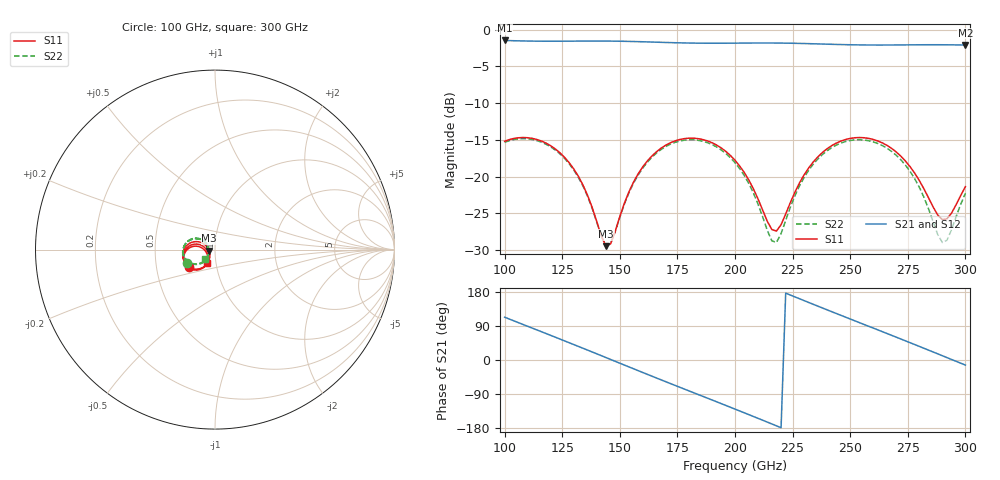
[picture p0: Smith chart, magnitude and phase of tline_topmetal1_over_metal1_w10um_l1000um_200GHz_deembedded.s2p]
! Created with skrf 2.0.1 (http://scikit-rf.org).
# GHz S DB R 50.0
!freq dBS11 angS11 dBS21 angS21 dBS12 angS12 dBS22 angS22
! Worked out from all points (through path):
!   101 points, 100 GHz to 300 GHz, reference 50 ohm
!   highest |S21| = -1.45 dB at 100 GHz (marker M1); lowest = -2.1 dB at 300 GHz (marker M2)
!   group delay of S21, straight-line fit = 6.76 ps
!   lowest |S11| = -29.5 dB at 144 GHz (marker M3), VSWR 1.07, Z = 46.8 - j0.52 ohm
!   |S11| at or under -10 dB: start of sweep to end of sweep
!   |S22| runs from -29.5 to -14.8 dB; largest |S21 - S12| = 1.5e-15
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100  -15.19 -147.2  -1.45 113.0  -1.45 113.0  -15.34 -154.3
116  -15.16 -179.3  -1.56 74.6  -1.56 74.6  -15.31 172.4
126  -17.37 162.6  -1.55 50.5  -1.55 50.5  -17.52 153.5
134  -21.14 153.0  -1.54 31.0  -1.54 31.0  -21.29 143.5
144  -29.48 -170.5  -1.54 6.4  -1.54 6.4  -29.46 179.0
146  -29.17 -148.3  -1.54 1.5  -1.54 1.5  -29.15 -159.5
158  -19.61 -121.0  -1.62 -28.2  -1.62 -28.2  -19.76 -133.4
168  -16.11 -136.1  -1.71 -52.6  -1.71 -52.6  -16.30 -149.4
184  -14.83 -165.8  -1.82 -91.0  -1.82 -91.0  -15.06 179.3
200  -17.78 167.4  -1.82 -129.5  -1.82 -129.5  -18.11 150.1
210  -23.05 163.9  -1.80 -154.0  -1.80 -154.0  -23.76 144.1
216  -27.22 -169.9  -1.80 -168.8  -1.80 -168.8  -28.76 172.3
218  -27.42 -153.4  -1.81 -173.7  -1.81 -173.7  -28.97 -167.8
228  -20.86 -119.5  -1.86 161.6  -1.86 161.6  -21.27 -133.4
234  -18.00 -123.9  -1.91 146.9  -1.91 146.9  -18.30 -139.6
244  -15.44 -139.0  -2.00 122.6  -2.00 122.6  -15.71 -156.8
252  -14.71 -153.0  -2.05 103.4  -2.05 103.4  -15.00 -172.2
268  -16.17 -179.9  -2.07 65.0  -2.07 65.0  -16.59 157.4
278  -19.54 169.6  -2.05 40.8  -2.05 40.8  -20.29 143.2
290  -25.87 -160.3  -2.04 11.3  -2.04 11.3  -28.98 177.9
292  -25.76 -147.4  -2.05 6.3  -2.05 6.3  -28.68 -162.7
300  -21.37 -121.3  -2.08 -13.4  -2.08 -13.4  -22.28 -134.6
